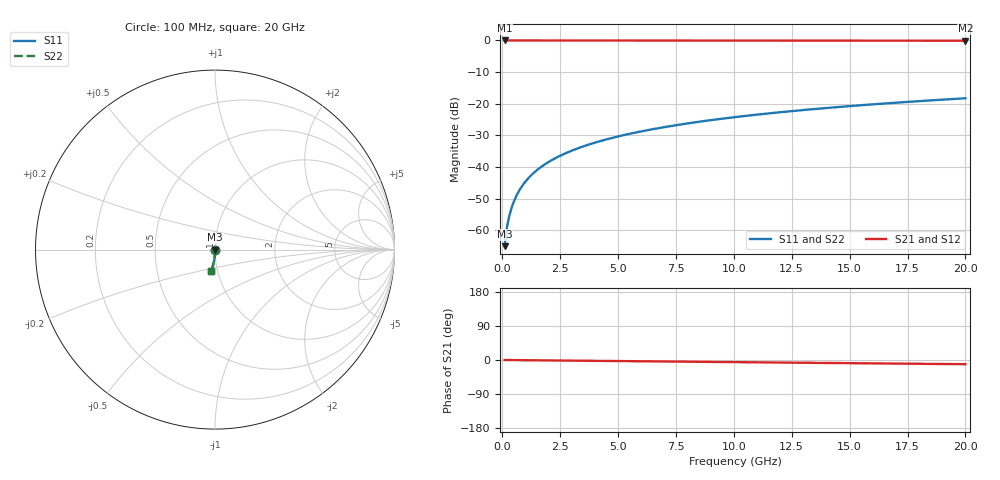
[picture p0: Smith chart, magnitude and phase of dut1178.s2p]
! Touchstone file exported from HFSS 2026.1.0
!  File:  C:/ffzhzh/LocalFiles/Ansys_Project_Files/temp_train_TSV_1178_1783192192_51560.aedt
!  Generated:  03:11:16 AM Jul  5, 2026
!  Design:  TSV
!  Project:  temp_train_TSV_1178_1783192192_51560
! Variables:
!  h_bsmrdl = 2um
!  h_ox = 20um
!  h_rdl = 5um
!  h_sub = 93.54um
!  h_tmrdl = 5um
!  h_tsv = 93.54um
!  h_via = 3um
!  l_bsmrdl = 300um
!  l_sub = 425.94um
!  l_tmrdl = 200um
!  m_sub = 200um
!  pitch = 31.28um
!  r_tsv = 12.97um
!  s_tmrdl = 10um
!  w_bsmrdl = 18um
!  w_sub = 500um
!  w_tmrdl = 12um
!  x_tsv_center1 = 206um
!  x_tsv_center2 = 524um
!  x_tsv_center3 = 736um
!  x_tsv_center4 = 1054um
!  x_tsv_center5 = 1266um
!  x_tsv_center6 = 1584um
# GHz S MA R 50.000000
! Terminal data exported
! Port[1] = TSV1_1_T1
! Port[2] = TSV1_1_T2
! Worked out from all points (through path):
!   200 points, 100 MHz to 20 GHz, reference 50 ohm
!   highest |S21| = 0.00 dB at 100 MHz (marker M1); lowest = -0.1 dB at 20 GHz (marker M2)
!   group delay of S21, straight-line fit = 1.54 ps
!   lowest |S11| = -65.0 dB at 100 MHz (marker M3), VSWR 1.00, Z = 50 - j0.0549 ohm
!   |S11| at or under -10 dB: start of sweep to end of sweep
!   |S22| runs from -65.0 to -18.3 dB; largest |S21 - S12| = 3.3e-15
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0.1  0.0005612 -78.2  0.9999 -0.1  0.9999 -0.1  0.0005612 -78.2
! Gamma 0 0 0 0
! Port Impedance 50 0 50 0
0.2  0.001114 -83.0  0.9999 -0.1  0.9999 -0.1  0.001114 -83.0
0.3  0.001682 -84.3  0.9998 -0.2  0.9998 -0.2  0.001682 -84.3
0.4  0.002262 -84.9  0.9998 -0.2  0.9998 -0.2  0.002262 -84.9
0.5  0.002854 -85.3  0.9997 -0.3  0.9997 -0.3  0.002854 -85.3
0.7  0.004058 -85.9  0.9997 -0.4  0.9997 -0.4  0.004058 -85.9
0.8  0.004666 -86.2  0.9996 -0.5  0.9996 -0.5  0.004666 -86.2
1  0.005889 -86.8  0.9996 -0.6  0.9996 -0.6  0.005889 -86.8
1.2  0.007114 -87.3  0.9995 -0.7  0.9995 -0.7  0.007114 -87.3
1.4  0.008339 -87.7  0.9995 -0.8  0.9995 -0.8  0.008339 -87.7
1.7  0.01018 -88.2  0.9995 -1.0  0.9995 -1.0  0.01018 -88.2
2  0.01201 -88.6  0.9994 -1.1  0.9994 -1.1  0.01201 -88.6
2.7  0.0163 -89.4  0.9993 -1.5  0.9993 -1.5  0.0163 -89.4
3.5  0.0212 -90.2  0.9991 -2.0  0.9991 -2.0  0.0212 -90.2
4.2  0.02549 -90.7  0.9989 -2.4  0.9989 -2.4  0.02549 -90.7
5  0.03041 -91.3  0.9987 -2.8  0.9987 -2.8  0.03041 -91.3
6.8  0.04148 -92.5  0.9982 -3.8  0.9982 -3.8  0.04148 -92.5
8.3  0.05071 -93.4  0.9976 -4.6  0.9976 -4.6  0.05071 -93.4
10.1  0.06177 -94.6  0.9969 -5.6  0.9969 -5.6  0.06177 -94.6
13.4  0.08197 -96.5  0.9953 -7.5  0.9953 -7.5  0.08197 -96.5
16.7  0.102 -98.4  0.9933 -9.3  0.9933 -9.3  0.102 -98.4
20  0.1219 -100.3  0.9908 -11.1  0.9908 -11.1  0.1219 -100.3
